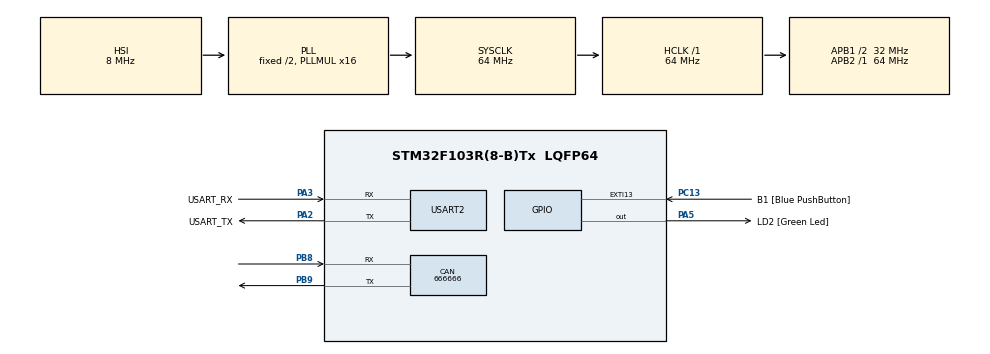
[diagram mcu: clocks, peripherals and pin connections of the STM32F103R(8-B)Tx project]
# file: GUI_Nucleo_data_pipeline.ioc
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Mcu.Family=STM32F1
PC15-OSC32_OUT.Mode=LSE-External-Oscillator
PA2.GPIO_PuPd=GPIO_NOPULL
PD1-OSC_OUT.Mode=HSE-External-Clock-Source
CAN.CalculateBaudRate=666666
PA14.GPIO_Label=TCK
PA3.GPIO_PuPd=GPIO_NOPULL
PA2.GPIO_Speed=GPIO_SPEED_FREQ_LOW
PC13-TAMPER-RTC.Signal=GPXTI13
PD0-OSC_IN.Signal=RCC_OSC_IN
RCC.APB1CLKDivider=RCC_HCLK_DIV2
PC14-OSC32_IN.Signal=RCC_OSC32_IN
PA3.GPIO_Speed=GPIO_SPEED_FREQ_LOW
CAN.CalculateTimeBit=1500.00
RCC.SYSCLKSource=RCC_SYSCLKSOURCE_PLLCLK
ProjectManager.StackSize=0x400
PD1-OSC_OUT.Signal=RCC_OSC_OUT
PA3.Mode=Asynchronous
PA13.Signal=SYS_JTMS-SWDIO
ProjectManager.TargetToolchain=STM32CubeIDE
PA3.GPIO_Mode=GPIO_MODE_AF_PP
RCC.HCLKFreq_Value=64000000
PB9.Mode=CAN_Activate
RCC.APB2TimFreq_Value=64000000
RCC.USBFreq_Value=64000000
PC15-OSC32_OUT.Signal=RCC_OSC32_OUT
RCC.AHBFreq_Value=64000000
PD0-OSC_IN.Mode=HSE-External-Clock-Source
NVIC.EXTI15_10_IRQn=true\:0\:0\:false\:false\:true\:true\:true
PA5.Signal=GPIO_Output
board=NUCLEO-F103RB
RCC.RTCClockSelection=RCC_RTCCLKSOURCE_LSE
PC13-TAMPER-RTC.GPIO_Label=B1 [Blue PushButton]
RCC.PLLMUL=RCC_PLL_MUL16
RCC.APB2Freq_Value=64000000
PC14-OSC32_IN.Mode=LSE-External-Oscillator
PA5.GPIO_ModeDefaultOutputPP=GPIO_MODE_OUTPUT_PP
PA14.Mode=Serial_Wire
PA5.GPIO_PuPd=GPIO_NOPULL
PA13.Mode=Serial_Wire
Mcu.Name=STM32F103R(8-B)Tx
CAN.CalculateTimeQuantum=500.0
PA2.Signal=USART2_TX
PA13.GPIO_Label=TMS
PB3.Signal=SYS_JTDO-TRACESWO
RCC.SYSCLKFreq_VALUE=64000000
Mcu.Package=LQFP64
PB9.Signal=CAN_TX
PA5.GPIO_Label=LD2 [Green Led]
USART2.VirtualMode=VM_ASYNC
PC13-TAMPER-RTC.GPIO_PuPd=GPIO_NOPULL
PA2.GPIO_Label=USART_TX
PA14.Signal=SYS_JTCK-SWCLK
ProjectManager.HeapSize=0x200
PA5.GPIO_Speed=GPIO_SPEED_FREQ_LOW
NVIC.PriorityGroup=NVIC_PRIORITYGROUP_4
PB8.Mode=CAN_Activate
RCC.APB1TimFreq_Value=64000000
PA2.Mode=Asynchronous
PB8.Signal=CAN_RX
RCC.APB1Freq_Value=32000000
PA3.GPIO_Label=USART_RX
PA3.Signal=USART2_RX
PA2.GPIO_Mode=GPIO_MODE_AF_PP
PB3.GPIO_Label=SWO

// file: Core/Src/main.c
/* USER CODE BEGIN Header */
/**
  ******************************************************************************
  * @file           : main.c
  * @brief          : Main program body
  ******************************************************************************
  * @attention
  *
  * <h2><center>&copy; Copyright (c) 2021 STMicroelectronics.
  * All rights reserved.</center></h2>
  *
  * This software component is licensed by ST under BSD 3-Clause license,
  * the "License"; You may not use this file except in compliance with the
  * License. You may obtain a copy of the License at:
  *                        opensource.org/licenses/BSD-3-Clause
  *
  ******************************************************************************
  */
/* USER CODE END Header */
#include "main.h"

CAN_HandleTypeDef hcan;
UART_HandleTypeDef huart2;

void SystemClock_Config(void);
static void MX_GPIO_Init(void);
static void MX_USART2_UART_Init(void);
static void MX_CAN_Init(void);
/* USER CODE BEGIN PFP */
static void CAN_config(void);

/* USER CODE END PFP */

int main(void)
{

  /* MCU Configuration--------------------------------------------------------*/

  /* Reset of all peripherals, Initializes the Flash interface and the Systick. */
  HAL_Init();

  /* Configure the system clock */
  SystemClock_Config();

  /* USER CODE BEGIN SysInit */
  CAN_config();
  /* USER CODE END SysInit */

  /* Initialize all configured peripherals */
  MX_GPIO_Init();
  MX_USART2_UART_Init();
  MX_CAN_Init();

  /* Infinite loop */
  while (1)
  {

  }
}

void SystemClock_Config(void)
{
  RCC_OscInitTypeDef RCC_OscInitStruct = {0};
  RCC_ClkInitTypeDef RCC_ClkInitStruct = {0};

  /** Initializes the RCC Oscillators according to the specified parameters
  * in the RCC_OscInitTypeDef structure.
  */
  RCC_OscInitStruct.OscillatorType = RCC_OSCILLATORTYPE_HSI;
  RCC_OscInitStruct.HSIState = RCC_HSI_ON;
  RCC_OscInitStruct.HSICalibrationValue = RCC_HSICALIBRATION_DEFAULT;
  RCC_OscInitStruct.PLL.PLLState = RCC_PLL_ON;
  RCC_OscInitStruct.PLL.PLLSource = RCC_PLLSOURCE_HSI_DIV2;
  RCC_OscInitStruct.PLL.PLLMUL = RCC_PLL_MUL16;
  if (HAL_RCC_OscConfig(&RCC_OscInitStruct) != HAL_OK)
  {
    Error_Handler();
  }
  /** Initializes the CPU, AHB and APB buses clocks
  */
  RCC_ClkInitStruct.ClockType = RCC_CLOCKTYPE_HCLK | RCC_CLOCKTYPE_SYSCLK | RCC_CLOCKTYPE_PCLK1 | RCC_CLOCKTYPE_PCLK2;
  RCC_ClkInitStruct.SYSCLKSource = RCC_SYSCLKSOURCE_PLLCLK;
  RCC_ClkInitStruct.AHBCLKDivider = RCC_SYSCLK_DIV1;
  RCC_ClkInitStruct.APB1CLKDivider = RCC_HCLK_DIV2;
  RCC_ClkInitStruct.APB2CLKDivider = RCC_HCLK_DIV1;

  if (HAL_RCC_ClockConfig(&RCC_ClkInitStruct, FLASH_LATENCY_2) != HAL_OK)
  {
    Error_Handler();
  }
}

static void MX_CAN_Init(void)
{

  hcan.Instance = CAN1;
  hcan.Init.Prescaler = 16;
  hcan.Init.Mode = CAN_MODE_NORMAL;
  hcan.Init.SyncJumpWidth = CAN_SJW_1TQ;
  hcan.Init.TimeSeg1 = CAN_BS1_1TQ;
  hcan.Init.TimeSeg2 = CAN_BS2_1TQ;
  hcan.Init.TimeTriggeredMode = DISABLE;
  hcan.Init.AutoBusOff = DISABLE;
  hcan.Init.AutoWakeUp = DISABLE;
  hcan.Init.AutoRetransmission = DISABLE;
  hcan.Init.ReceiveFifoLocked = DISABLE;
  hcan.Init.TransmitFifoPriority = DISABLE;
  if (HAL_CAN_Init(&hcan) != HAL_OK)
  {
    Error_Handler();
  }
}

static void MX_USART2_UART_Init(void)
{

  huart2.Instance = USART2;
  huart2.Init.BaudRate = 115200;
  huart2.Init.WordLength = UART_WORDLENGTH_8B;
  huart2.Init.StopBits = UART_STOPBITS_1;
  huart2.Init.Parity = UART_PARITY_NONE;
  huart2.Init.Mode = UART_MODE_TX_RX;
  huart2.Init.HwFlowCtl = UART_HWCONTROL_NONE;
  huart2.Init.OverSampling = UART_OVERSAMPLING_16;
  if (HAL_UART_Init(&huart2) != HAL_OK)
  {
    Error_Handler();
  }
}

static void MX_GPIO_Init(void)
{
  GPIO_InitTypeDef GPIO_InitStruct = {0};

  /* GPIO Ports Clock Enable */
  __HAL_RCC_GPIOC_CLK_ENABLE();
  __HAL_RCC_GPIOD_CLK_ENABLE();
  __HAL_RCC_GPIOA_CLK_ENABLE();
  __HAL_RCC_GPIOB_CLK_ENABLE();

  /*Configure GPIO pin Output Level */
  HAL_GPIO_WritePin(LD2_GPIO_Port, LD2_Pin, GPIO_PIN_RESET);

  /*Configure GPIO pin : B1_Pin */
  GPIO_InitStruct.Pin = B1_Pin;
  GPIO_InitStruct.Mode = GPIO_MODE_IT_RISING;
  GPIO_InitStruct.Pull = GPIO_NOPULL;
  HAL_GPIO_Init(B1_GPIO_Port, &GPIO_InitStruct);

  /*Configure GPIO pin : LD2_Pin */
  GPIO_InitStruct.Pin = LD2_Pin;
  GPIO_InitStruct.Mode = GPIO_MODE_OUTPUT_PP;
  GPIO_InitStruct.Pull = GPIO_NOPULL;
  GPIO_InitStruct.Speed = GPIO_SPEED_FREQ_LOW;
  HAL_GPIO_Init(LD2_GPIO_Port, &GPIO_InitStruct);

  /* EXTI interrupt init*/
  HAL_NVIC_SetPriority(EXTI15_10_IRQn, 0, 0);
  HAL_NVIC_EnableIRQ(EXTI15_10_IRQn);
}

/* USER CODE BEGIN 4 */
static void CAN_config(void)
{
  CAN_FilterTypeDef FilterConfig;
  FilterConfig.FilterBank = 1; //https://www.google.ca/url?sa=t&rct=j&q=&esrc=s&source=web&cd=&ved=2ahUKEwjRrfzYluTxAhVXqJ4KHUWbB1wQFjAAegQIEBAD&url=https%3A%2F%2Fwww.st.com%2Fresource%2Fen%2Freference_manual%2Fdm00135183-stm32f446xx-advanced-armbased-32bit-mcus-stmicroelectronics.pdf&usg=AOvVaw09x0J9iGreyFuAMma4aTnE
  //page 1058
  FilterConfig.FilterMode = CAN_FILTERMODE_IDMASK;
  FilterConfig.FilterScale = CAN_FILTERSCALE_32BIT;
  FilterConfig.FilterIdHigh = 0x623 << 5; //the filter and mask IDs will need to change
  FilterConfig.FilterIdLow = 0x0000;
  FilterConfig.FilterMaskIdHigh = 0x623 << 5;
  FilterConfig.FilterMaskIdLow = 0x0000;
  FilterConfig.FilterFIFOAssignment = CAN_RX_FIFO0;
  FilterConfig.FilterActivation = ENABLE;

  if (HAL_CAN_Init(&hcan) != HAL_OK)
  {
    Error_Handler();
  }

  if (HAL_CAN_Start(&hcan) != HAL_OK)
  {
    Error_Handler();
  }

  if (HAL_CAN_ConfigFilter(&hcan, &FilterConfig) != HAL_OK)
  {
    Error_Handler();
  }

  //Enable CAN interrupts
  if (HAL_CAN_ActivateNotification(&hcan, CAN_IT_RX_FIFO0_MSG_PENDING) != HAL_OK)
  {
    Error_Handler();
  }

  //init CAN ID lookup table
  init_hash_table();
  hash_table_insert(&VOLT_ID);
  hash_table_insert(&TEMP_ID);
  hash_table_insert(&SOC_ID);
  hash_table_insert(&MOD_STATUS_ID);
  hash_table_insert(&PACK_STATUS_ID);
}
/* USER CODE END 4 */

void Error_Handler(void)
{
  __disable_irq();
  while (1)
  {
  }
}

/************************ (C) COPYRIGHT STMicroelectronics *****END OF FILE****/
